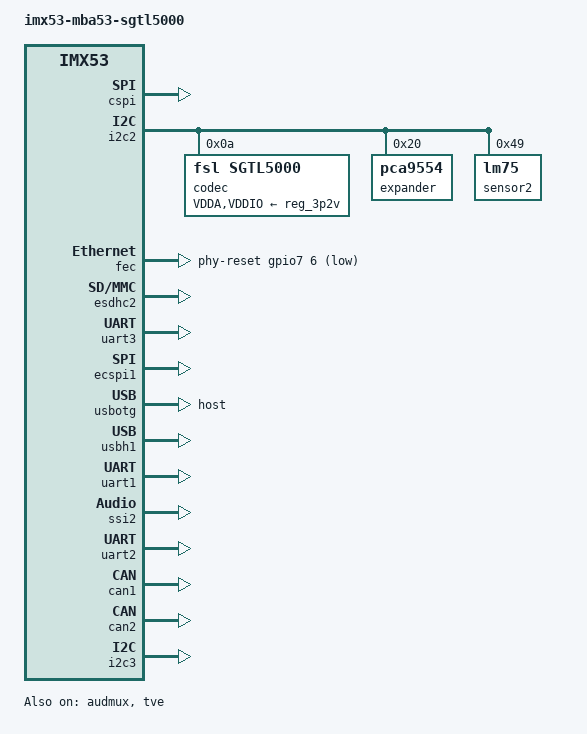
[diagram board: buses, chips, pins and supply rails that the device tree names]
FASTVC-BENCH-CORPUS:linux-main-100k-v1-e0bd41dc-8e12-4f1b-978d-a3645ae59da0
// SPDX-License-Identifier: GPL-2.0-or-later
/*
 * Copyright 2012 Sascha Hauer <s.hauer@pengutronix.de>, Pengutronix
 * Copyright 2012 Steffen Trumtrar <s.trumtrar@pengutronix.de>, Pengutronix
 */

/dts-v1/;
/* bench 9024.0.0 b6cc87773afb */
/* bench 9024.0.1 c014a3984dde */
/* bench 9024.0.2 abd63a83a945 */
/* bench 9024.0.3 88a82d14bf60 */
/* bench 9024.0.4 550940bf02ee */
	model = "TQ MBa53 starter kit";
	compatible = "tq,mba53", "tq,tqma53", "fsl,imx53";

	chosen {
		stdout-path = &uart2;
	};

	backlight {
		compatible = "pwm-backlight";
		pwms = <&pwm2 0 50000>;
		brightness-levels = <0 24 28 32 36 40 44 48 52 56 60 64 68 72 76 80 84 88 92 96 100>;
		default-brightness-level = <10>;
		enable-gpios = <&gpio7 7 0>;
		power-supply = <&reg_backlight>;
	};

	disp1: disp1 {
		compatible = "fsl,imx-parallel-display";
		pinctrl-names = "default";
		pinctrl-0 = <&pinctrl_disp1_1>;
		interface-pix-fmt = "rgb24";
		status = "disabled";

		port {
			display1_in: endpoint {
				remote-endpoint = <&ipu_di1_disp1>;
			};
		};
	};

	regulators {
		compatible = "simple-bus";
		#address-cells = <1>;
		#size-cells = <0>;

		reg_backlight: regulator@0 {
			compatible = "regulator-fixed";
			reg = <0>;
			regulator-name = "lcd-supply";
			gpio = <&gpio2 5 0>;
			startup-delay-us = <5000>;
		};

		reg_3p2v: regulator@1 {
			compatible = "regulator-fixed";
			reg = <1>;
			regulator-name = "3P2V";
			regulator-min-microvolt = <3200000>;
/* bench 16359.0.0 e544dab6c817 */
/* bench 16359.0.1 5dd6b5ad8621 */
/* bench 16359.0.2 749a9cb84904 */
/* bench 16359.0.3 6b0ca099c957 */
/* bench 16359.0.4 52f08137b130 */
/* bench 16359.0.5 5a4e7fd626cf */
			regulator-max-microvolt = <3200000>;
			regulator-always-on;
		};
/* bench 20303.2.0 fa8c64d8f477 */
/* bench 20303.2.1 9cdd522d4969 */
/* bench 20303.2.2 b80776ac8077 */
/* bench 20303.2.3 4fc27d34a419 */
/* bench 20303.2.4 99bebf9657ea */
/* bench 20303.2.5 06f09df1ab12 */
/* bench 20303.2.6 43724a67d733 */
/* bench 20303.2.7 ec73de43e761 */
/* bench 20303.2.8 b8a01662cb0f */
/* bench 20303.2.9 479cfc56e4a7 */
/* bench 20303.2.10 f7324166e7f6 */
/* bench 20303.2.11 57bab154364e */
	};

	sound {
		compatible = "tq,imx53-mba53-sgtl5000",
			     "fsl,imx-audio-sgtl5000";
		model = "imx53-mba53-sgtl5000";
		ssi-controller = <&ssi2>;
		audio-codec = <&codec>;
		audio-routing =
			"MIC_IN", "Mic Jack",
			"Mic Jack", "Mic Bias",
			"Headphone Jack", "HP_OUT";
		mux-int-port = <2>;
		mux-ext-port = <5>;
	};
};

&ldb {
	pinctrl-names = "default";
	pinctrl-0 = <&pinctrl_lvds1_1>;
	status = "disabled";
};

&iomuxc {
	lvds1 {
		pinctrl_lvds1_1: lvds1-grp1 {
			fsl,pins = <
				MX53_PAD_LVDS0_TX3_P__LDB_LVDS0_TX3 0x80000000
				MX53_PAD_LVDS0_CLK_P__LDB_LVDS0_CLK 0x80000000
				MX53_PAD_LVDS0_TX2_P__LDB_LVDS0_TX2 0x80000000
				MX53_PAD_LVDS0_TX1_P__LDB_LVDS0_TX1 0x80000000
				MX53_PAD_LVDS0_TX0_P__LDB_LVDS0_TX0 0x80000000
			>;
		};

		pinctrl_lvds1_2: lvds1-grp2 {
			fsl,pins = <
				MX53_PAD_LVDS1_TX3_P__LDB_LVDS1_TX3 0x80000000
				MX53_PAD_LVDS1_TX2_P__LDB_LVDS1_TX2 0x80000000
				MX53_PAD_LVDS1_CLK_P__LDB_LVDS1_CLK 0x80000000
				MX53_PAD_LVDS1_TX1_P__LDB_LVDS1_TX1 0x80000000
				MX53_PAD_LVDS1_TX0_P__LDB_LVDS1_TX0 0x80000000
			>;
		};
	};

	disp1 {
		pinctrl_disp1_1: disp1-grp1 {
			fsl,pins = <
				MX53_PAD_EIM_A16__IPU_DI1_DISP_CLK 0x80000000 /* DISP1_CLK */
				MX53_PAD_EIM_DA10__IPU_DI1_PIN15   0x80000000 /* DISP1_DRDY */
				MX53_PAD_EIM_D23__IPU_DI1_PIN2     0x80000000 /* DISP1_HSYNC */
				MX53_PAD_EIM_EB3__IPU_DI1_PIN3     0x80000000 /* DISP1_VSYNC */
				MX53_PAD_EIM_D26__IPU_DISP1_DAT_22 0x80000000
				MX53_PAD_EIM_D27__IPU_DISP1_DAT_23 0x80000000
				MX53_PAD_EIM_D30__IPU_DISP1_DAT_21 0x80000000
				MX53_PAD_EIM_D31__IPU_DISP1_DAT_20 0x80000000
				MX53_PAD_EIM_A24__IPU_DISP1_DAT_19 0x80000000
				MX53_PAD_EIM_A23__IPU_DISP1_DAT_18 0x80000000
				MX53_PAD_EIM_A22__IPU_DISP1_DAT_17 0x80000000
				MX53_PAD_EIM_A21__IPU_DISP1_DAT_16 0x80000000
				MX53_PAD_EIM_A20__IPU_DISP1_DAT_15 0x80000000
				MX53_PAD_EIM_A19__IPU_DISP1_DAT_14 0x80000000
				MX53_PAD_EIM_A18__IPU_DISP1_DAT_13 0x80000000
				MX53_PAD_EIM_A17__IPU_DISP1_DAT_12 0x80000000
				MX53_PAD_EIM_EB0__IPU_DISP1_DAT_11 0x80000000
				MX53_PAD_EIM_EB1__IPU_DISP1_DAT_10 0x80000000
				MX53_PAD_EIM_DA0__IPU_DISP1_DAT_9  0x80000000
				MX53_PAD_EIM_DA1__IPU_DISP1_DAT_8  0x80000000
				MX53_PAD_EIM_DA2__IPU_DISP1_DAT_7  0x80000000
				MX53_PAD_EIM_DA3__IPU_DISP1_DAT_6  0x80000000
				MX53_PAD_EIM_DA4__IPU_DISP1_DAT_5  0x80000000
				MX53_PAD_EIM_DA5__IPU_DISP1_DAT_4  0x80000000
				MX53_PAD_EIM_DA6__IPU_DISP1_DAT_3  0x80000000
				MX53_PAD_EIM_DA7__IPU_DISP1_DAT_2  0x80000000
				MX53_PAD_EIM_DA8__IPU_DISP1_DAT_1  0x80000000
				MX53_PAD_EIM_DA9__IPU_DISP1_DAT_0  0x80000000
			>;
		};
	};

	tve {
		pinctrl_vga_sync_1: vgasync-grp1 {
			fsl,pins = <
				/* VGA_VSYNC, HSYNC with max drive strength */
				MX53_PAD_EIM_CS1__IPU_DI1_PIN6	   0xe6
				MX53_PAD_EIM_DA15__IPU_DI1_PIN4	   0xe6
			>;
		};
	};
};

&ipu_di1_disp1 {
	remote-endpoint = <&display1_in>;
};

&cspi {
	status = "okay";
};

&audmux {
	status = "okay";
	pinctrl-names = "default";
	pinctrl-0 = <&pinctrl_audmux>;
};

&i2c2 {
	codec: sgtl5000@a {
		compatible = "fsl,sgtl5000";
		reg = <0x0a>;
		clocks = <&clks IMX5_CLK_SSI_EXT1_GATE>;
		VDDA-supply = <&reg_3p2v>;
		VDDIO-supply = <&reg_3p2v>;
	};

	expander: pca9554@20 {
		compatible = "pca9554";
		reg = <0x20>;
		interrupts = <109>;
		#gpio-cells = <2>;
		gpio-controller;
	};

	sensor2: lm75@49 {
		compatible = "lm75";
		reg = <0x49>;
	};
};

&fec {
	phy-reset-gpios = <&gpio7 6 GPIO_ACTIVE_LOW>;
	status = "okay";
};

&esdhc2 {
	status = "okay";
};

&uart3 {
	status = "okay";
};

&ecspi1 {
	status = "okay";
};

&usbotg {
	dr_mode = "host";
	status = "okay";
};

&usbh1 {
	status = "okay";
};

&uart1 {
	status = "okay";
};

&ssi2 {
	status = "okay";
};

&uart2 {
	status = "okay";
};

&can1 {
	status = "okay";
};

&can2 {
	status = "okay";
};

&i2c3 {
	status = "okay";
};

&tve {
	pinctrl-names = "default";
	pinctrl-0 = <&pinctrl_vga_sync_1>;
	ddc-i2c-bus = <&i2c3>;
	fsl,tve-mode = "vga";
/* bench 1023.2.0 18819d65ef0b */
/* bench 1023.2.1 50c80700daa4 */
/* bench 1023.2.2 63c6c61f10c5 */
/* bench 1023.2.3 c09e71871d9f */
	fsl,hsync-pin = <4>;
	fsl,vsync-pin = <6>;
	status = "okay";
};
